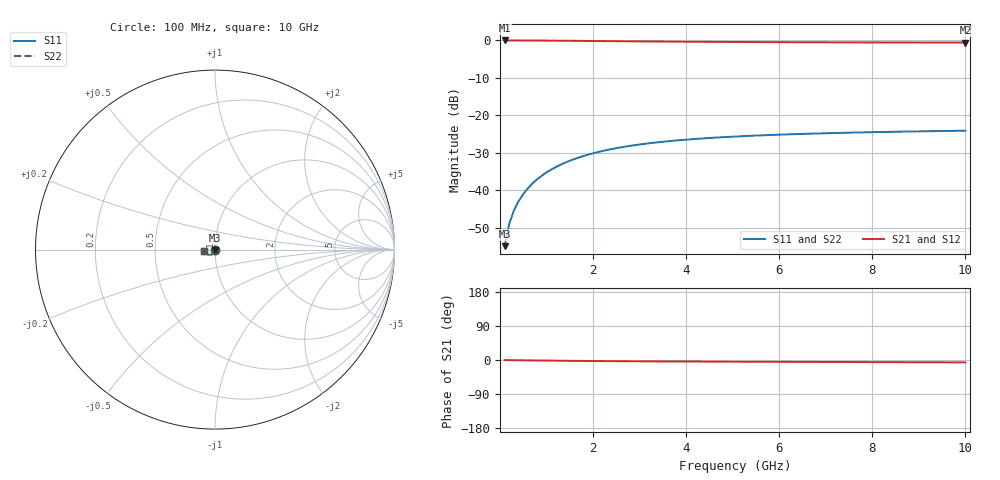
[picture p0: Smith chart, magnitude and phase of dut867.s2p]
! Touchstone file exported from HFSS 2024.1.0
!  File:  C:/UserFiles/LocalFiles/RDL_TSV_Batchsim/temp_TSV1_867_1779882413.aedt
!  Generated:  07:53:04 PM May 27, 2026
!  Design:  TSV1
!  Project:  temp_TSV1_867_1779882413
!  Setup:  Setup1
!  Solution:  Sweep
! Variables:
!  dtsv = 11.85um
!  hbump = 3um
!  htsv = 99.41um
!  lrdl = 252.1521522um
!  p = 40
!  p1 = 52.17um
!  t = 500um
!  trdl = 3um
!  wrdl = 24.89489489um
# GHz S MA R 50.000000
! Terminal data exported
! Port[1] = TSV22_T1
! Port[2] = TSV22_T2
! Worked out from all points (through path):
!   100 points, 100 MHz to 10 GHz, reference 50 ohm
!   highest |S21| = 0.00 dB at 100 MHz (marker M1); lowest = -0.6 dB at 10 GHz (marker M2)
!   lowest |S11| = -55.0 dB at 100 MHz (marker M3), VSWR 1.00, Z = 50 - j0.178 ohm
!   |S11| at or under -10 dB: start of sweep to end of sweep
!   |S22| runs from -55.0 to -24.1 dB; largest |S21 - S12| = 6.2e-15
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0.1  0.001783 -88.0  0.9998 -0.2  0.9998 -0.2  0.001783 -88.0
! Gamma 0 0 0 0
! Port Impedance 50 0 50 0
0.2  0.00356 -91.5  0.9996 -0.3  0.9996 -0.3  0.00356 -91.5
0.3  0.005335 -93.9  0.9993 -0.5  0.9993 -0.5  0.005335 -93.9
0.4  0.007101 -96.0  0.9989 -0.6  0.9989 -0.6  0.007101 -96.0
0.5  0.008854 -97.9  0.9984 -0.8  0.9984 -0.8  0.008854 -97.9
0.6  0.01059 -99.8  0.9978 -1.0  0.9978 -1.0  0.01059 -99.8
0.7  0.01229 -101.7  0.9972 -1.1  0.9972 -1.1  0.01229 -101.7
0.8  0.01397 -103.5  0.9964 -1.3  0.9964 -1.3  0.01397 -103.5
0.9  0.01562 -105.3  0.9956 -1.4  0.9956 -1.4  0.01562 -105.3
1.1  0.0188 -108.7  0.9937 -1.7  0.9937 -1.7  0.0188 -108.7
1.4  0.02328 -113.6  0.9905 -2.0  0.9905 -2.0  0.02328 -113.6
1.6  0.02605 -116.7  0.9881 -2.3  0.9881 -2.3  0.02605 -116.7
1.8  0.02864 -119.7  0.9857 -2.5  0.9857 -2.5  0.02864 -119.7
2.1  0.03219 -123.9  0.9821 -2.8  0.9821 -2.8  0.03219 -123.9
2.5  0.03636 -129.0  0.9773 -3.1  0.9773 -3.1  0.03636 -129.0
2.9  0.03992 -133.6  0.9727 -3.4  0.9727 -3.4  0.03992 -133.6
3.4  0.04365 -138.8  0.9674 -3.7  0.9674 -3.7  0.04365 -138.8
4.2  0.04832 -145.8  0.9603 -4.1  0.9603 -4.1  0.04832 -145.8
5.1  0.05219 -152.4  0.954 -4.5  0.954 -4.5  0.05219 -152.4
6.7  0.05686 -161.6  0.9459 -5.1  0.9459 -5.1  0.05686 -161.6
8.4  0.0601 -169.2  0.9403 -5.7  0.9403 -5.7  0.0601 -169.2
10  0.06228 -175.2  0.9367 -6.3  0.9367 -6.3  0.06228 -175.2
